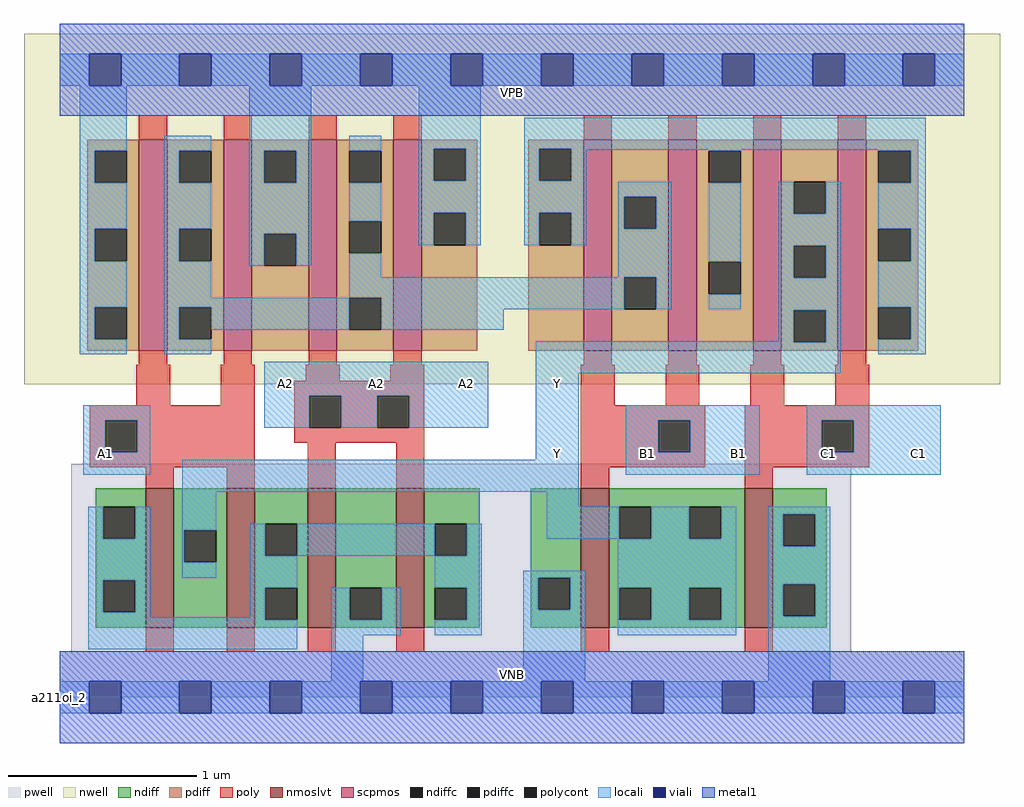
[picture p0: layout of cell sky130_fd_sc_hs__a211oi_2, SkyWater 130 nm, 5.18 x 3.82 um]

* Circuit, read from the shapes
.subckt sky130_fd_sc_hs__a211oi_2 A1 A2 B1 C1 VGND VNB VPB VPWR Y
XM1 Y A1 n1 VNB sky130_fd_pr__nfet_01v8_lvt w=0.74 l=0.15 m=2
XM2 VGND A2 n1 VNB sky130_fd_pr__nfet_01v8_lvt w=0.74 l=0.15 m=2
XM3 Y B1 VGND VNB sky130_fd_pr__nfet_01v8_lvt w=0.74 l=0.15
XM4 VGND C1 Y VNB sky130_fd_pr__nfet_01v8_lvt w=0.74 l=0.15
XM5 n2 A1 VPWR VPB sky130_fd_pr__pfet_01v8 w=1.12 l=0.15 m=2
XM6 n2 A2 VPWR VPB sky130_fd_pr__pfet_01v8 w=1.12 l=0.15 m=2
XM7 n2 B1 n3 VPB sky130_fd_pr__pfet_01v8 w=1.12 l=0.15 m=2
XM8 Y C1 n3 VPB sky130_fd_pr__pfet_01v8 w=1.12 l=0.15 m=2
.ends

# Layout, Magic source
magic
tech sky130A
magscale 1 2
<< nwell >>
rect -38 332 998 704
<< pwell >>
rect 12 49 840 248
rect 0 0 960 49
<< scpmos >>
rect 84 368 114 592
rect 174 368 204 592
rect 264 368 294 592
rect 354 368 384 592
rect 556 368 586 592
rect 646 368 676 592
rect 736 368 766 592
rect 826 368 856 592
<< nmoslvt >>
rect 91 74 121 222
rect 177 74 207 222
rect 263 74 293 222
rect 357 74 387 222
rect 553 74 583 222
rect 727 74 757 222
<< ndiff >>
rect 38 202 91 222
rect 38 168 46 202
rect 80 168 91 202
rect 38 124 91 168
rect 38 90 46 124
rect 80 90 91 124
rect 38 74 91 90
rect 121 177 177 222
rect 121 143 132 177
rect 166 143 177 177
rect 121 74 177 143
rect 207 184 263 222
rect 207 150 218 184
rect 252 150 263 184
rect 207 116 263 150
rect 207 82 218 116
rect 252 82 263 116
rect 207 74 263 82
rect 293 116 357 222
rect 293 82 308 116
rect 342 82 357 116
rect 293 74 357 82
rect 387 184 446 222
rect 387 150 398 184
rect 432 150 446 184
rect 387 116 446 150
rect 387 82 398 116
rect 432 82 446 116
rect 387 74 446 82
rect 500 127 553 222
rect 500 93 508 127
rect 542 93 553 127
rect 500 74 553 93
rect 583 202 727 222
rect 583 168 594 202
rect 628 168 668 202
rect 702 168 727 202
rect 583 116 727 168
rect 583 82 594 116
rect 628 82 668 116
rect 702 82 727 116
rect 583 74 727 82
rect 757 194 814 222
rect 757 160 768 194
rect 802 160 814 194
rect 757 120 814 160
rect 757 86 768 120
rect 802 86 814 120
rect 757 74 814 86
<< pdiff >>
rect 29 580 84 592
rect 29 546 37 580
rect 71 546 84 580
rect 29 497 84 546
rect 29 463 37 497
rect 71 463 84 497
rect 29 414 84 463
rect 29 380 37 414
rect 71 380 84 414
rect 29 368 84 380
rect 114 580 174 592
rect 114 546 127 580
rect 161 546 174 580
rect 114 497 174 546
rect 114 463 127 497
rect 161 463 174 497
rect 114 414 174 463
rect 114 380 127 414
rect 161 380 174 414
rect 114 368 174 380
rect 204 580 264 592
rect 204 546 217 580
rect 251 546 264 580
rect 204 492 264 546
rect 204 458 217 492
rect 251 458 264 492
rect 204 368 264 458
rect 294 580 354 592
rect 294 546 307 580
rect 341 546 354 580
rect 294 505 354 546
rect 294 471 307 505
rect 341 471 354 505
rect 294 424 354 471
rect 294 390 307 424
rect 341 390 354 424
rect 294 368 354 390
rect 384 582 443 592
rect 384 548 397 582
rect 431 548 443 582
rect 384 514 443 548
rect 384 480 397 514
rect 431 480 443 514
rect 384 368 443 480
rect 497 582 556 592
rect 497 548 509 582
rect 543 548 556 582
rect 497 514 556 548
rect 497 480 509 514
rect 543 480 556 514
rect 497 368 556 480
rect 586 531 646 592
rect 586 497 599 531
rect 633 497 646 531
rect 586 446 646 497
rect 586 412 599 446
rect 633 412 646 446
rect 586 368 646 412
rect 676 580 736 592
rect 676 546 689 580
rect 723 546 736 580
rect 676 462 736 546
rect 676 428 689 462
rect 723 428 736 462
rect 676 368 736 428
rect 766 547 826 592
rect 766 513 779 547
rect 813 513 826 547
rect 766 479 826 513
rect 766 445 779 479
rect 813 445 826 479
rect 766 411 826 445
rect 766 377 779 411
rect 813 377 826 411
rect 766 368 826 377
rect 856 580 911 592
rect 856 546 869 580
rect 903 546 911 580
rect 856 497 911 546
rect 856 463 869 497
rect 903 463 911 497
rect 856 414 911 463
rect 856 380 869 414
rect 903 380 911 414
rect 856 368 911 380
<< ndiffc >>
rect 46 168 80 202
rect 46 90 80 124
rect 132 143 166 177
rect 218 150 252 184
rect 218 82 252 116
rect 308 82 342 116
rect 398 150 432 184
rect 398 82 432 116
rect 508 93 542 127
rect 594 168 628 202
rect 668 168 702 202
rect 594 82 628 116
rect 668 82 702 116
rect 768 160 802 194
rect 768 86 802 120
<< pdiffc >>
rect 37 546 71 580
rect 37 463 71 497
rect 37 380 71 414
rect 127 546 161 580
rect 127 463 161 497
rect 127 380 161 414
rect 217 546 251 580
rect 217 458 251 492
rect 307 546 341 580
rect 307 471 341 505
rect 307 390 341 424
rect 397 548 431 582
rect 397 480 431 514
rect 509 548 543 582
rect 509 480 543 514
rect 599 497 633 531
rect 599 412 633 446
rect 689 546 723 580
rect 689 428 723 462
rect 779 513 813 547
rect 779 445 813 479
rect 779 377 813 411
rect 869 546 903 580
rect 869 463 903 497
rect 869 380 903 414
<< poly >>
rect 84 592 114 618
rect 174 592 204 618
rect 264 592 294 618
rect 354 592 384 618
rect 556 592 586 618
rect 646 592 676 618
rect 736 592 766 618
rect 826 592 856 618
rect 84 353 114 368
rect 174 353 204 368
rect 264 353 294 368
rect 354 353 384 368
rect 556 353 586 368
rect 646 353 676 368
rect 736 353 766 368
rect 826 353 856 368
rect 81 310 117 353
rect 171 310 207 353
rect 261 336 297 353
rect 351 336 387 353
rect 32 294 207 310
rect 32 260 48 294
rect 82 260 207 294
rect 249 320 387 336
rect 249 286 265 320
rect 299 286 337 320
rect 371 286 387 320
rect 249 270 387 286
rect 32 244 207 260
rect 91 222 121 244
rect 177 222 207 244
rect 263 222 293 270
rect 357 222 387 270
rect 553 310 589 353
rect 643 310 679 353
rect 733 310 769 353
rect 823 310 859 353
rect 553 294 685 310
rect 553 260 635 294
rect 669 260 685 294
rect 553 244 685 260
rect 727 294 859 310
rect 727 260 809 294
rect 843 260 859 294
rect 727 244 859 260
rect 553 222 583 244
rect 727 222 757 244
rect 91 48 121 74
rect 177 48 207 74
rect 263 48 293 74
rect 357 48 387 74
rect 553 48 583 74
rect 727 48 757 74
<< polycont >>
rect 48 260 82 294
rect 265 286 299 320
rect 337 286 371 320
rect 635 260 669 294
rect 809 260 843 294
<< locali >>
rect 0 649 31 683
rect 65 649 127 683
rect 161 649 223 683
rect 257 649 319 683
rect 353 649 415 683
rect 449 649 511 683
rect 545 649 607 683
rect 641 649 703 683
rect 737 649 799 683
rect 833 649 895 683
rect 929 649 960 683
rect 21 580 71 649
rect 21 546 37 580
rect 21 497 71 546
rect 21 463 37 497
rect 21 414 71 463
rect 21 380 37 414
rect 21 364 71 380
rect 111 580 161 596
rect 111 546 127 580
rect 111 497 161 546
rect 111 463 127 497
rect 111 424 161 463
rect 201 580 267 649
rect 201 546 217 580
rect 251 546 267 580
rect 201 492 267 546
rect 201 458 217 492
rect 251 458 267 492
rect 307 580 341 596
rect 307 505 341 546
rect 381 582 447 649
rect 381 548 397 582
rect 431 548 447 582
rect 381 514 447 548
rect 381 480 397 514
rect 431 480 447 514
rect 493 582 919 615
rect 493 548 509 582
rect 543 581 919 582
rect 543 548 559 581
rect 493 514 559 548
rect 689 580 723 581
rect 493 480 509 514
rect 543 480 559 514
rect 593 531 649 547
rect 593 497 599 531
rect 633 497 649 531
rect 307 446 341 471
rect 593 446 649 497
rect 307 424 599 446
rect 111 414 307 424
rect 111 380 127 414
rect 161 390 307 414
rect 341 412 599 424
rect 633 412 649 446
rect 869 580 919 581
rect 689 462 723 546
rect 689 412 723 428
rect 763 513 779 547
rect 813 513 829 547
rect 763 479 829 513
rect 763 445 779 479
rect 813 445 829 479
rect 341 390 471 412
rect 763 411 829 445
rect 111 364 161 380
rect 763 378 779 411
rect 505 377 779 378
rect 813 377 829 411
rect 217 320 455 356
rect 25 294 96 310
rect 25 260 48 294
rect 82 260 96 294
rect 217 286 265 320
rect 299 286 337 320
rect 371 286 455 320
rect 505 344 829 377
rect 903 546 919 580
rect 869 497 919 546
rect 903 463 919 497
rect 869 414 919 463
rect 903 380 919 414
rect 869 364 919 380
rect 25 236 96 260
rect 505 252 551 344
rect 130 218 551 252
rect 601 294 743 310
rect 601 260 635 294
rect 669 260 743 294
rect 601 236 743 260
rect 793 294 935 310
rect 793 260 809 294
rect 843 260 935 294
rect 793 236 935 260
rect 30 168 46 202
rect 80 168 96 202
rect 30 124 96 168
rect 130 177 166 218
rect 517 202 551 218
rect 130 143 132 177
rect 130 127 166 143
rect 202 150 218 184
rect 252 150 398 184
rect 432 150 448 184
rect 517 168 594 202
rect 628 168 668 202
rect 702 168 718 202
rect 30 90 46 124
rect 80 90 96 124
rect 30 85 96 90
rect 202 116 252 150
rect 398 116 448 150
rect 202 85 218 116
rect 30 82 218 85
rect 30 51 252 82
rect 288 82 308 116
rect 342 82 362 116
rect 288 66 362 82
rect 432 82 448 116
rect 398 66 448 82
rect 492 127 558 134
rect 492 93 508 127
rect 542 93 558 127
rect 288 17 322 66
rect 492 17 558 93
rect 592 116 718 168
rect 592 82 594 116
rect 628 82 668 116
rect 702 82 718 116
rect 592 66 718 82
rect 752 194 818 202
rect 752 160 768 194
rect 802 160 818 194
rect 752 120 818 160
rect 752 86 768 120
rect 802 86 818 120
rect 752 17 818 86
rect 0 -17 31 17
rect 65 -17 127 17
rect 161 -17 223 17
rect 257 -17 319 17
rect 353 -17 415 17
rect 449 -17 511 17
rect 545 -17 607 17
rect 641 -17 703 17
rect 737 -17 799 17
rect 833 -17 895 17
rect 929 -17 960 17
<< viali >>
rect 31 649 65 683
rect 127 649 161 683
rect 223 649 257 683
rect 319 649 353 683
rect 415 649 449 683
rect 511 649 545 683
rect 607 649 641 683
rect 703 649 737 683
rect 799 649 833 683
rect 895 649 929 683
rect 31 -17 65 17
rect 127 -17 161 17
rect 223 -17 257 17
rect 319 -17 353 17
rect 415 -17 449 17
rect 511 -17 545 17
rect 607 -17 641 17
rect 703 -17 737 17
rect 799 -17 833 17
rect 895 -17 929 17
<< metal1 >>
rect 0 683 960 715
rect 0 649 31 683
rect 65 649 127 683
rect 161 649 223 683
rect 257 649 319 683
rect 353 649 415 683
rect 449 649 511 683
rect 545 649 607 683
rect 641 649 703 683
rect 737 649 799 683
rect 833 649 895 683
rect 929 649 960 683
rect 0 617 960 649
rect 0 17 960 49
rect 0 -17 31 17
rect 65 -17 127 17
rect 161 -17 223 17
rect 257 -17 319 17
rect 353 -17 415 17
rect 449 -17 511 17
rect 545 -17 607 17
rect 641 -17 703 17
rect 737 -17 799 17
rect 833 -17 895 17
rect 929 -17 960 17
rect 0 -49 960 -17
<< labels >>
rlabel comment s 0 0 0 0 4 a211oi_2
flabel pwell s 0 0 960 49 0 FreeSans 200 0 0 0 VNB
port 6 nsew ground bidirectional
flabel nwell s 0 617 960 666 0 FreeSans 200 0 0 0 VPB
port 7 nsew power bidirectional
flabel metal1 s 0 617 960 666 0 FreeSans 340 0 0 0 VPWR
port 8 nsew power bidirectional
flabel metal1 s 0 0 960 49 0 FreeSans 340 0 0 0 VGND
port 5 nsew ground bidirectional
flabel locali s 511 242 545 276 0 FreeSans 340 0 0 0 Y
port 9 nsew signal output
flabel locali s 511 316 545 350 0 FreeSans 340 0 0 0 Y
port 9 nsew signal output
flabel locali s 799 242 833 276 0 FreeSans 340 0 0 0 C1
port 4 nsew signal input
flabel locali s 895 242 929 276 0 FreeSans 340 0 0 0 C1
port 4 nsew signal input
flabel locali s 607 242 641 276 0 FreeSans 340 0 0 0 B1
port 3 nsew signal input
flabel locali s 703 242 737 276 0 FreeSans 340 0 0 0 B1
port 3 nsew signal input
flabel locali s 223 316 257 350 0 FreeSans 340 0 0 0 A2
port 2 nsew signal input
flabel locali s 319 316 353 350 0 FreeSans 340 0 0 0 A2
port 2 nsew signal input
flabel locali s 415 316 449 350 0 FreeSans 340 0 0 0 A2
port 2 nsew signal input
flabel locali s 31 242 65 276 0 FreeSans 340 0 0 0 A1
port 1 nsew signal input
<< properties >>
string LEFsite unit
string LEFclass CORE
string FIXED_BBOX 0 0 960 666
string GDS_FILE $PDKPATH/libs.ref/sky130_fd_sc_hs/gds/sky130_fd_sc_hs.gds
string LEFsymmetry X Y
string GDS_END 146914
string GDS_START 137976
<< end >>
